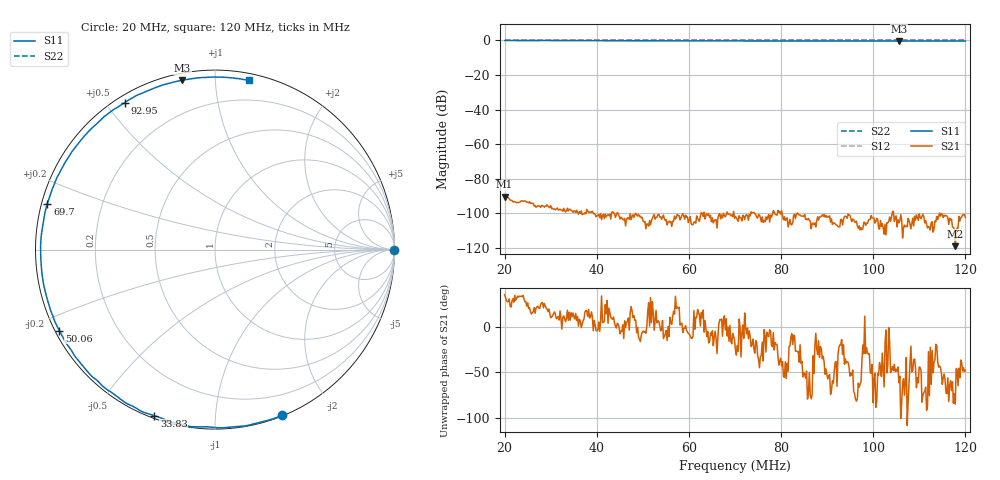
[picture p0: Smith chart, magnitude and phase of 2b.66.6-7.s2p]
! Anritsu VNA Master:  Model: MS2036C/10/77
! SN:  1601066
! /card0/usr/18may27.balun/252b.66.5.s2p
! Existing Calibration Information:
! TYPE:  Current Settings,  Active Cal Settings
! TIME:  05/27/2018 01:21:30 PM,  05/27/2018 01:14:08 PM
! INTERNAL TEMP:  52.0 C,  52.0 C
! # POINTS:  500,  500
! START FREQ:  20.000 MHz,  20.000 MHz
! STOP FREQ:  120.000 MHz,  120.000 MHz
! SOURCE POWER:  High,  High
! IFBW:  50 Hz,  50 Hz
! AVG FACTOR:  1 ,  1
! REF PLANE 1:  0 mm,  0 mm
! REF PLANE 2:  0 mm,  0 mm
! CAL TYPE:  Full S11,  Full S11
! CAL METHOD:  SOLT,  SOLT
! CAL LINE TYPE:  Coax,  Coax
! DUT PORT 1:  K-Conn(M),  K-Conn(M)
! DUT PORT 2:  K-Conn(M),  K-Conn(M)
! CAL STATUS:  OK: Accuracy High,  --
# GHZ S DB R 50.0
! FREQ.GHZ  S11DB  S11A  S21DB  S21A  S12DB  S12A  S22DB  S22A
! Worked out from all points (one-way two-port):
!   500 points, 20 MHz to 120 MHz, reference 50 ohm
!   highest |S21| = -90.36 dB at 20 MHz (marker M1); lowest = -119.1 dB at 117.8 MHz (marker M2)
!   lowest |S11| = -0.4 dB at 105.6 MHz (marker M3), VSWR 49.36, Z = 1.7 + j41.2 ohm
!   |S11| at or under -10 dB: nowhere
!   |S22| runs from 0.0 to 0.0 dB; largest |S21 - S12| = 1
!   S11 on the Smith chart (normalised r, x): 20 MHz: 0.01, -1.48; 33.83 MHz: 0.01, -0.70; 50.06 MHz: 0.01, -0.24; 69.7 MHz: 0.02, +0.13; 92.95 MHz: 0.03, +0.56; 120 MHz: 0.05, +1.22
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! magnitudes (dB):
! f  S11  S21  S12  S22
! 20 MHz  0.0  -90.4  0.0  0.0
! 22.4 MHz  -0.1  -93.6  0.0  0.0
! 23.81 MHz  0.0  -92.9  0.0  0.0
! 27.82 MHz  -0.1  -96.6  0.0  0.0
! 29.62 MHz  0.0  -96.5  0.0  0.0
! 33.83 MHz  -0.1  -98.7  0.0  0.0
! 35.23 MHz  -0.1  -98.8  0.0  0.0
! 36.83 MHz  -0.1  -100.8  0.0  0.0
! 37.64 MHz  -0.1  -100.3  0.0  0.0
! 39.24 MHz  -0.2  -100.2  0.0  0.0
! 42.85 MHz  -0.1  -100.6  0.0  0.0
! 47.05 MHz  -0.2  -103.5  0.0  0.0
! 50.06 MHz  -0.2  -104.6  0.0  0.0
! 53.47 MHz  -0.2  -100.6  0.0  0.0
! 69.7 MHz  -0.3  -98.9  0.0  0.0
! 70.1 MHz  -0.3  -101.9  0.0  0.0
! 86.73 MHz  -0.3  -106.1  0.0  0.0
! 92.95 MHz  -0.3  -103.6  0.0  0.0
! 103.4 MHz  -0.3  -104.8  0.0  0.0
! 105.6 MHz  -0.4  -105.6  0.0  0.0
! 117.8 MHz  -0.3  -119.1  0.0  0.0
! 120 MHz  -0.3  -102.5  0.0  0.0
